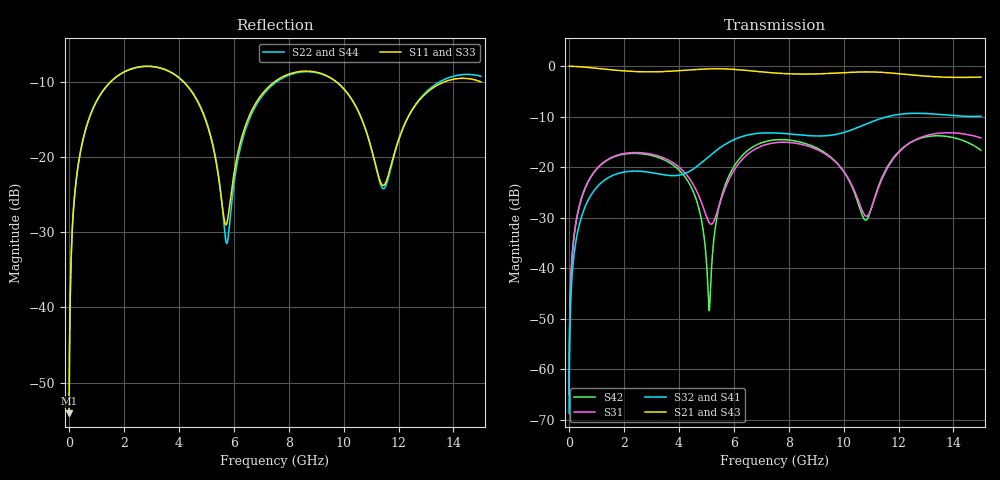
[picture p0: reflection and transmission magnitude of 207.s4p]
! Created with skrf 1.8.0 (http://scikit-rf.org).
# GHz S RI R 50.0
!freq ReS11 ImS11 ReS12 ImS12 ReS13 ImS13
! ReS14 ImS14
! ReS21 ImS21 ReS22 ImS22 ReS23 ImS23
! ReS24 ImS24
! ReS31 ImS31 ReS32 ImS32 ReS33 ImS33
! ReS34 ImS34
! ReS41 ImS41 ReS42 ImS42 ReS43 ImS43
! ReS44 ImS44
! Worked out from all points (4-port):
!   2499 points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, 5 MHz to 15 GHz, reference 50 ohm
!   strongest paths, dB at 5 MHz, 3.476 GHz, 7.19 GHz, 11.1 GHz, 15 GHz:
!     S21: 0.0, -1.1, -1.2, -1.2, -2.2
!     S43: 0.0, -1.1, -1.2, -1.2, -2.2
!     S32: -68.7, -21.5, -13.2, -10.9, -9.9
!     S41: -68.7, -21.5, -13.2, -10.9, -10.0
!     S31: -65.0, -18.2, -15.5, -26.7, -14.2
!     S42: -65.0, -18.6, -14.9, -26.6, -16.7
!   lowest |S11| = -54.1 dB at 5 MHz (marker M1), VSWR 1.00, Z = 50.2 + j0.121 ohm
!   |S11| at or under -10 dB: start of sweep to 1.521 GHz; 4.164 GHz to 7.491 GHz (3.327 GHz wide, 57.1 % of centre); 9.734 GHz to 13.68 GHz (3.949 GHz wide, 33.7 % of centre) (the widest 3 of 4)
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0.005  0.00157 0.0012  0.9984 -0.00306  7.65e-05 0.000558  -7.46e-05 -0.00036
       0.9984 -0.00306  0.00157 0.0012  -7.46e-05 -0.00036  7.64e-05 0.000558
       7.65e-05 0.000558  -7.46e-05 -0.00036  0.00157 0.0012  0.9984 -0.00306
       -7.46e-05 -0.00036  7.64e-05 0.000558  0.9984 -0.00306  0.00157 0.0012
0.3126303  0.0223 0.0795  0.9697 -0.1906  0.00936 0.0333  -0.0078 -0.0213
           0.9697 -0.1906  0.0223 0.0795  -0.0078 -0.0213  0.0091 0.0334
           0.00936 0.0333  -0.0078 -0.0213  0.0223 0.0795  0.9697 -0.1906
           -0.0078 -0.0213  0.0091 0.0334  0.9697 -0.1906  0.0223 0.0795
1.519383  0.2528 0.1897  0.5897 -0.7068  0.1101 0.0561  -0.0801 -0.0127
          0.5897 -0.7068  0.254 0.1889  -0.0801 -0.0127  0.1066 0.0603
          0.1101 0.0561  -0.0801 -0.0127  0.2528 0.1897  0.5897 -0.7068
          -0.0801 -0.0127  0.1066 0.0603  0.5897 -0.7068  0.254 0.189
5.108378  0.0777 -0.1248  -0.859 -0.3792  -0.025 -0.0131  -0.0482 0.1191
          -0.859 -0.3792  0.0717 -0.1323  -0.0476 0.1193  0.0037 0.000858
          -0.025 -0.0131  -0.0476 0.1193  0.0773 -0.1247  -0.859 -0.3793
          -0.0482 0.1191  0.0037 0.000858  -0.859 -0.3793  0.0719 -0.132
6.115048  0.0599 0.0786  -0.9096 0.1602  0.0272 0.099  0.0471 0.1868
          -0.9096 0.1602  0.0489 0.0738  0.0479 0.1868  0.0582 0.0959
          0.0272 0.099  0.0479 0.1868  0.0593 0.0791  -0.9095 0.1603
          0.0471 0.1868  0.0582 0.0959  -0.9095 0.1603  0.0497 0.0742
8.909962  0.3657 -0.0483  0.0317 0.8347  0.1308 -0.0822  0.1915 -0.0681
          0.0317 0.8347  0.3637 -0.0417  0.1916 -0.0701  0.1326 -0.0893
          0.1308 -0.0822  0.1916 -0.0701  0.3668 -0.0464  0.0315 0.8342
          0.1915 -0.0681  0.1326 -0.0893  0.0315 0.8342  0.3651 -0.0437
15  0.3052 -0.0786  -0.0906 -0.7737  0.0969 -0.1694  -0.3044 0.0917
    -0.0906 -0.7737  0.334 -0.0817  -0.3041 0.0969  0.1123 -0.0949
    0.0969 -0.1694  -0.3041 0.0969  0.303 -0.0736  -0.0909 -0.7746
    -0.3044 0.0917  0.1123 -0.0949  -0.0909 -0.7746  0.3313 -0.0859
